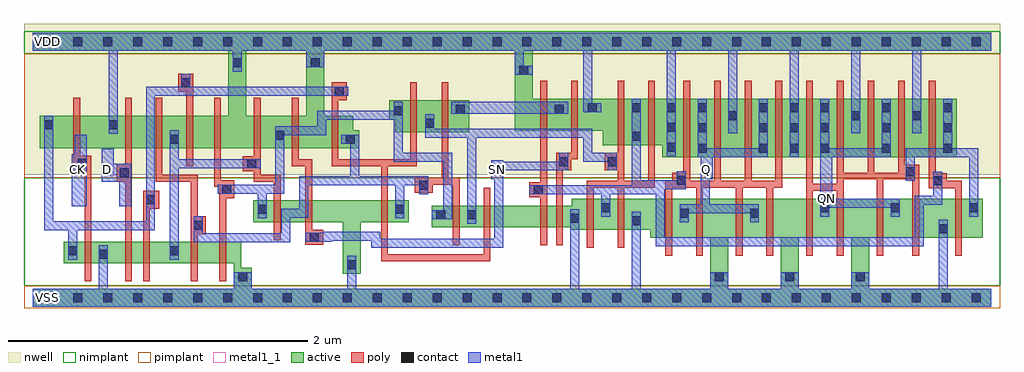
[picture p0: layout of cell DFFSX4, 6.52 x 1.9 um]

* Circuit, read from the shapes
.subckt DFFSX4 CK D Q QN SN VDD VSS
M1 VSS CK n1 VSS nfet w=0.145u l=0.045u
M2 n2 D VSS VSS nfet w=0.145u l=0.045u
M3 n3 n1 n2 VSS nfet w=0.145u l=0.045u
M4 n4 n5 n3 VSS nfet w=0.145u l=0.045u
M5 VSS n6 n4 VSS nfet w=0.145u l=0.045u
M6 n7 n3 n6 VSS nfet w=0.145u l=0.045u
M7 VSS SN n7 VSS nfet w=0.145u l=0.045u
M8 n5 n1 VSS VSS nfet w=0.145u l=0.045u
M9 n8 n5 n6 VSS nfet w=0.145u l=0.045u
M10 n9 n1 n8 VSS nfet w=0.145u l=0.045u
M11 n10 n11 n9 VSS nfet w=0.145u l=0.045u
M12 VSS SN n10 VSS nfet w=0.145u l=0.045u
M13 n11 n8 VSS VSS nfet w=0.205u l=0.045u m=2
M14 Q n11 VSS VSS nfet w=0.26u l=0.045u m=4
M15 QN n12 VSS VSS nfet w=0.26u l=0.045u m=4
M16 n12 n11 VSS VSS nfet w=0.26u l=0.045u
M17 VDD CK n1 VDD pfet w=0.215u l=0.045u
M18 n13 D VDD VDD pfet w=0.215u l=0.045u
M19 n3 n5 n13 VDD pfet w=0.215u l=0.045u
M20 n14 n1 n3 VDD pfet w=0.215u l=0.045u
M21 VDD n6 n14 VDD pfet w=0.215u l=0.045u
M22 n6 n3 VDD VDD pfet w=0.215u l=0.045u
M23 VDD SN n6 VDD pfet w=0.215u l=0.045u
M24 n5 n1 VDD VDD pfet w=0.215u l=0.045u
M25 n8 n1 n6 VDD pfet w=0.215u l=0.045u
M26 n15 n5 n8 VDD pfet w=0.215u l=0.045u
M27 n15 n11 VDD VDD pfet w=0.215u l=0.045u
M28 VDD SN n15 VDD pfet w=0.215u l=0.045u
M29 n11 n8 VDD VDD pfet w=0.31u l=0.045u m=2
M30 Q n11 VDD VDD pfet w=0.39u l=0.045u m=4
M31 QN n12 VDD VDD pfet w=0.39u l=0.045u m=4
M32 n12 n11 VDD VDD pfet w=0.39u l=0.045u
.ends

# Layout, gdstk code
import gdstk
lib = gdstk.Library(unit=1e-6, precision=5e-10)
def R(c, l, rs):  # rectangles x0, y0, x1, y1
    for r in rs: c.add(gdstk.rectangle(r[:2], r[2:], *l))
def A(c, l, x, y, w, h, nx, ny, dx, dy):  # array of equal rectangles
    R(c, l, [(x+i*dx, y+j*dy, x+i*dx+w, y+j*dy+h) for i in range(nx) for j in range(ny)])
def P(c, l, *ps):  # polygons
    for p in ps: c.add(gdstk.Polygon(p, *l))
active = (1, 0)
nwell = (2, 0)
poly = (3, 0)
nimplant = (4, 0)
pimplant = (5, 0)
contact = (6, 0)
metal1 = (7, 0)
metal1_1 = (7, 1)

dffsx4 = lib.new_cell('DFFSX4')
P(dffsx4, active, [(0,1.77),(6.4,1.77),(6.4,1.65),(3.34,1.65),(3.34,1.33),(6.17,1.33),(6.17,0.94),(4.205,0.94),(4.205,1.02),(3.805,1.02),(3.805,1.115),(3.22,1.115),(3.22,1.65),(1.945,1.65),(1.945,1.215),(2.14,1.215),(2.14,1.12),(2.18,1.12),(2.18,1),(0.045,1),(0.045,1.215),(1.305,1.215),(1.305,1.65),(1.425,1.65),(1.425,1.215),(1.825,1.215),(1.825,1.65),(0,1.65)],
  [(2.38,1.32),(2.915,1.32),(2.915,1.105),(2.42,1.105),(2.42,1.19),(2.38,1.19)],
  [(1.47,0.65),(2.51,0.65),(2.51,0.505),(2.19,0.505),(2.19,0.16),(2.07,0.16),(2.07,0.505),(1.47,0.505)],
  [(3.6,0.66),(6.345,0.66),(6.345,0.4),(5.585,0.4),(5.585,0.06),(6.4,0.06),(6.4,-0.06),(0,-0.06),(0,0.06),(1.34,0.06),(1.34,0.23),(0.205,0.23),(0.205,0.375),(1.39,0.375),(1.39,0.2),(1.46,0.2),(1.46,0.06),(4.525,0.06),(4.525,0.4),(4.645,0.4),(4.645,0.06),(4.995,0.06),(4.995,0.4),(5.115,0.4),(5.115,0.06),(5.465,0.06),(5.465,0.4),(4.125,0.4),(4.125,0.455),(3.6,0.455),(3.6,0.47),(2.665,0.47),(2.665,0.615),(3.6,0.615)])
R(dffsx4, nwell, [(-0.06,0.82,6.46,1.83)])
P(dffsx4, poly, [(0.97,1.495),(1.07,1.495),(1.07,0.88),(1.025,0.88),(1.025,1.375),(0.97,1.375)],
  [(0.27,1.335),(0.315,1.335),(0.315,0.95),(0.39,0.95),(0.39,0.11),(0.345,0.11),(0.345,0.85),(0.27,0.85)],
  [(0.615,1.335),(0.66,1.335),(0.66,0.11),(0.615,0.11),(0.615,0.775),(0.56,0.775),(0.56,0.895),(0.615,0.895)],
  [(0.82,1.335),(0.865,1.335),(0.865,0.82),(1.1,0.82),(1.1,0.545),(1.155,0.545),(1.155,0.425),(1.1,0.425),(1.1,0.11),(1.055,0.11),(1.055,0.775),(0.82,0.775)],
  [(1.21,1.335),(1.255,1.335),(1.255,0.785),(1.345,0.785),(1.345,0.665),(1.29,0.665),(1.29,0.11),(1.245,0.11),(1.245,0.74),(1.21,0.74)],
  [(1.475,1.335),(1.52,1.335),(1.52,0.82),(1.655,0.82),(1.655,0.385),(1.61,0.385),(1.61,0.775),(1.475,0.775),(1.475,0.845),(1.4,0.845),(1.4,0.945),(1.475,0.945)],
  [(1.73,1.335),(1.775,1.335),(1.775,0.925),(1.865,0.925),(1.865,0.455),(1.94,0.455),(1.94,0.355),(1.82,0.355),(1.82,0.88),(1.73,0.88)],
  [(1.995,1.44),(2.095,1.44),(2.095,1.32),(2.04,1.32),(2.04,0.925),(2.52,0.925),(2.52,1.44),(2.565,1.44),(2.565,0.88),(2.37,0.88),(2.37,0.29),(3.01,0.29),(3.01,0.735),(3.055,0.735),(3.055,0.245),(2.325,0.245),(2.325,0.88),(1.995,0.88)],
  [(2.73,1.44),(2.775,1.44),(2.775,0.8),(2.85,0.8),(2.85,0.35),(2.805,0.35),(2.805,0.755),(2.67,0.755),(2.67,0.7),(2.55,0.7),(2.55,0.8),(2.73,0.8)],
  [(3.39,1.45),(3.435,1.45),(3.435,0.35),(3.39,0.35),(3.39,0.67),(3.315,0.67),(3.315,0.77),(3.39,0.77)],
  [(3.595,1.45),(3.64,1.45),(3.64,0.925),(3.595,0.925),(3.595,0.85),(3.54,0.85),(3.54,0.35),(3.495,0.35),(3.495,0.97),(3.595,0.97)],
  [(3.905,1.45),(3.95,1.45),(3.95,0.78),(4.11,0.78),(4.11,1.45),(4.155,1.45),(4.155,0.735),(3.95,0.735),(3.95,0.335),(3.905,0.335),(3.905,0.735),(3.745,0.735),(3.745,0.335),(3.7,0.335),(3.7,0.78),(3.905,0.78),(3.905,0.85),(3.82,0.85),(3.82,0.97),(3.905,0.97)],
  [(4.345,1.45),(4.39,1.45),(4.39,0.78),(4.55,0.78),(4.55,1.45),(4.595,1.45),(4.595,0.78),(4.755,0.78),(4.755,1.45),(4.8,1.45),(4.8,0.78),(4.96,0.78),(4.96,1.45),(5.005,1.45),(5.005,0.735),(4.945,0.735),(4.945,0.28),(4.9,0.28),(4.9,0.735),(4.74,0.735),(4.74,0.28),(4.695,0.28),(4.695,0.735),(4.475,0.735),(4.475,0.28),(4.43,0.28),(4.43,0.735),(4.27,0.735),(4.27,0.28),(4.225,0.28),(4.225,0.78),(4.27,0.78),(4.27,0.835),(4.345,0.835)],
  [(5.165,1.45),(5.21,1.45),(5.21,0.76),(5.37,0.76),(5.37,1.45),(5.415,1.45),(5.415,0.835),(5.575,0.835),(5.575,1.45),(5.62,1.45),(5.62,0.835),(5.78,0.835),(5.78,1.45),(5.825,1.45),(5.825,0.89),(5.92,0.89),(5.92,0.28),(5.875,0.28),(5.875,0.79),(5.68,0.79),(5.68,0.28),(5.635,0.28),(5.635,0.79),(5.415,0.79),(5.415,0.28),(5.37,0.28),(5.37,0.715),(5.21,0.715),(5.21,0.28),(5.165,0.28)],
  [(5.985,1.45),(6.03,1.45),(6.03,0.83),(6.105,0.83),(6.105,0.78),(6.205,0.78),(6.205,0.28),(6.16,0.28),(6.16,0.73),(5.985,0.73)],
  [(0.735,0.715),(0.845,0.715),(0.845,0.595),(0.78,0.595),(0.78,0.11),(0.735,0.11)])
R(dffsx4, nimplant, [(-0.06,0.08,6.46,0.8), (-0.06,1.63,6.46,1.78)])
R(dffsx4, pimplant, [(-0.06,-0.07,6.46,0.08), (-0.06,0.8,6.46,1.63)])
A(dffsx4, contact, 0.07, -0.03, 0.06, 0.06, 32, 2, 0.2, 1.71)
A(dffsx4, contact, 4.555, 0.11, 0.06, 0.06, 3, 1, 0.47, 0)
A(dffsx4, contact, 4.44, 0.97, 0.06, 0.06, 1, 3, 0, 0.135)
A(dffsx4, contact, 4.85, 0.97, 0.06, 0.06, 3, 3, 0.205, 0.135)
A(dffsx4, contact, 5.67, 0.97, 0.06, 0.06, 1, 3, 0, 0.135)
A(dffsx4, contact, 6.08, 0.97, 0.06, 0.06, 1, 3, 0, 0.135)
R(dffsx4, contact, [(1.37,0.11,1.43,0.17), (2.1,0.19,2.16,0.25), (0.44,0.26,0.5,0.32), (0.235,0.285,0.295,0.345), (0.915,0.285,0.975,0.345), (1.85,0.375,1.91,0.435), (6.05,0.43,6.11,0.49), (1.075,0.455,1.135,0.515), (4,0.485,4.06,0.545), (3.59,0.5,3.65,0.56), (2.695,0.525,2.755,0.585), (2.9,0.525,2.96,0.585), (4.32,0.535,4.38,0.595), (4.79,0.535,4.85,0.595), (1.5,0.56,1.56,0.62), (2.42,0.56,2.48,0.62), (3.795,0.57,3.855,0.63), (5.26,0.57,5.32,0.63), (5.73,0.57,5.79,0.63), (6.255,0.57,6.315,0.63), (0.755,0.625,0.815,0.685), (3.345,0.69,3.405,0.75), (1.265,0.695,1.325,0.755), (2.58,0.72,2.64,0.78), (6.015,0.75,6.075,0.81), (4.3,0.755,4.36,0.815), (0.58,0.805,0.64,0.865), (5.83,0.81,5.89,0.87), (1.43,0.865,1.49,0.925), (0.3,0.87,0.36,0.93), (3.515,0.88,3.575,0.94), (3.84,0.88,3.9,0.94), (4.235,0.975,4.295,1.035), (0.915,1.03,0.975,1.09), (2.09,1.03,2.15,1.09), (4,1.05,4.06,1.11), (1.62,1.055,1.68,1.115), (4.235,1.11,4.295,1.17), (0.075,1.125,0.135,1.185), (0.505,1.125,0.565,1.185), (2.62,1.135,2.68,1.195), (4.645,1.185,4.705,1.245), (5.465,1.185,5.525,1.245), (5.875,1.185,5.935,1.245), (2.41,1.22,2.47,1.28), (2.825,1.23,2.885,1.29), (3.485,1.23,3.545,1.29), (3.705,1.24,3.765,1.3), (4,1.24,4.06,1.3), (4.235,1.24,4.295,1.3), (2.015,1.35,2.075,1.41), (0.99,1.405,1.05,1.465), (3.25,1.49,3.31,1.55), (1.335,1.54,1.395,1.6), (1.855,1.54,1.915,1.6)])
R(dffsx4, metal1, [(2.795,1.23,3.575,1.31)])
P(dffsx4, metal1, [(0,1.77),(6.4,1.77),(6.4,1.65),(5.935,1.65),(5.935,1.1),(5.875,1.1),(5.875,1.65),(5.525,1.65),(5.525,1.1),(5.465,1.1),(5.465,1.65),(5.115,1.65),(5.115,0.94),(5.055,0.94),(5.055,1.65),(4.705,1.65),(4.705,1.1),(4.645,1.1),(4.645,1.65),(4.295,1.65),(4.295,0.945),(4.235,0.945),(4.235,1.65),(3.735,1.65),(3.735,1.3),(3.795,1.3),(3.795,1.24),(3.675,1.24),(3.675,1.65),(3.28,1.65),(3.28,1.55),(3.34,1.55),(3.34,1.49),(3.22,1.49),(3.22,1.65),(1.945,1.65),(1.945,1.54),(1.825,1.54),(1.825,1.65),(1.395,1.65),(1.395,1.51),(1.335,1.51),(1.335,1.65),(0.565,1.65),(0.565,1.095),(0.505,1.095),(0.505,1.65),(0,1.65)],
  [(0.99,1.495),(1.05,1.495),(1.05,1.41),(2.105,1.41),(2.105,1.35),(0.815,1.35),(0.815,0.45),(0.295,0.45),(0.295,0.255),(0.235,0.255),(0.235,0.45),(0.075,0.45),(0.075,1.215),(0.135,1.215),(0.135,0.51),(0.755,0.51),(0.755,1.41),(0.99,1.41)],
  [(4,1.33),(4.06,1.33),(4.06,0.785),(4.3,0.785),(4.3,0.845),(4.36,0.845),(4.36,0.725),(4.22,0.725),(4.22,0.405),(5.89,0.405),(5.89,0.68),(6.015,0.68),(6.015,0.84),(6.075,0.84),(6.075,0.62),(5.95,0.62),(5.95,0.345),(4.16,0.345),(4.16,0.69),(3.855,0.69),(3.855,0.54),(3.795,0.54),(3.795,0.69),(3.315,0.69),(3.315,0.75),(4,0.75)],
  [(2.41,1.31),(2.47,1.31),(2.47,0.97),(2.8,0.97),(2.8,0.525),(2.665,0.525),(2.665,0.585),(2.74,0.585),(2.74,0.91),(2.41,0.91),(2.41,1.19),(1.96,1.19),(1.96,1.085),(1.68,1.085),(1.68,0.695),(1.56,0.695),(1.56,0.53),(1.5,0.53),(1.5,0.695),(1.235,0.695),(1.235,0.755),(1.62,0.755),(1.62,1.145),(1.9,1.145),(1.9,1.25),(2.41,1.25)],
  [(0.28,1.09),(0.36,1.09),(0.36,0.61),(0.26,0.61),(0.26,0.96),(0.28,0.96)],
  [(0.46,0.995),(0.54,0.995),(0.54,0.895),(0.655,0.895),(0.655,0.61),(0.575,0.61),(0.575,0.775),(0.46,0.775)],
  [(0.915,1.12),(0.975,1.12),(0.975,0.925),(1.52,0.925),(1.52,0.865),(0.975,0.865),(0.975,0.255),(0.915,0.255)],
  [(2.06,1.09),(2.18,1.09),(2.18,0.81),(2.64,0.81),(2.64,0.69),(2.58,0.69),(2.58,0.75),(2.48,0.75),(2.48,0.53),(2.42,0.53),(2.42,0.75),(1.84,0.75),(1.84,0.535),(1.72,0.535),(1.72,0.37),(1.075,0.37),(1.075,0.545),(1.135,0.545),(1.135,0.43),(1.66,0.43),(1.66,0.595),(1.78,0.595),(1.78,0.81),(2.12,0.81),(2.12,1.03),(2.06,1.03)],
  [(0.44,0.35),(0.5,0.35),(0.5,0.06),(1.34,0.06),(1.34,0.17),(1.46,0.17),(1.46,0.06),(2.1,0.06),(2.1,0.28),(2.16,0.28),(2.16,0.06),(3.59,0.06),(3.59,0.59),(3.65,0.59),(3.65,0.06),(4,0.06),(4,0.575),(4.06,0.575),(4.06,0.06),(4.525,0.06),(4.525,0.17),(4.645,0.17),(4.645,0.06),(4.995,0.06),(4.995,0.17),(5.115,0.17),(5.115,0.06),(5.465,0.06),(5.465,0.17),(5.585,0.17),(5.585,0.06),(6.05,0.06),(6.05,0.52),(6.11,0.52),(6.11,0.06),(6.4,0.06),(6.4,-0.06),(0,-0.06),(0,0.06),(0.44,0.06)],
  [(2.62,1.225),(2.68,1.225),(2.68,1.13),(3.735,1.13),(3.735,0.97),(3.9,0.97),(3.9,0.85),(3.84,0.85),(3.84,0.91),(3.675,0.91),(3.675,1.07),(2.96,1.07),(2.96,0.495),(2.9,0.495),(2.9,1.07),(2.62,1.07)],
  [(3.06,0.92),(3.14,0.92),(3.14,0.91),(3.515,0.91),(3.515,0.97),(3.575,0.97),(3.575,0.85),(3.14,0.85),(3.14,0.335),(2.26,0.335),(2.26,0.38),(2,0.38),(2,0.375),(1.82,0.375),(1.82,0.435),(1.94,0.435),(1.94,0.44),(2.32,0.44),(2.32,0.395),(3.08,0.395),(3.08,0.79),(3.06,0.79)],
  [(4.44,1.33),(4.5,1.33),(4.5,1),(4.85,1),(4.85,1.33),(4.91,1.33),(4.91,0.94),(4.54,0.94),(4.54,0.79),(4.52,0.79),(4.52,0.625),(4.85,0.625),(4.85,0.505),(4.79,0.505),(4.79,0.565),(4.38,0.565),(4.38,0.505),(4.32,0.505),(4.32,0.625),(4.46,0.625),(4.46,0.94),(4.44,0.94)],
  [(5.26,1.33),(5.32,1.33),(5.32,1),(5.67,1),(5.67,1.33),(5.73,1.33),(5.73,0.94),(5.34,0.94),(5.34,0.66),(5.79,0.66),(5.79,0.54),(5.73,0.54),(5.73,0.6),(5.32,0.6),(5.32,0.54),(5.26,0.54)],
  [(6.08,1.33),(6.14,1.33),(6.14,1),(6.315,1),(6.315,0.54),(6.255,0.54),(6.255,0.94),(5.89,0.94),(5.89,0.78),(5.83,0.78),(5.83,1),(6.08,1)])
R(dffsx4, metal1_1, [(0.06,-0.04,0.14,0.04), (5.26,0.625,5.34,0.705), (0.26,0.815,0.34,0.895), (0.46,0.815,0.54,0.895), (3.06,0.815,3.14,0.895), (4.46,0.815,4.54,0.895), (0.06,1.67,0.14,1.75)])
dffsx4.add(gdstk.Label('QN', (5.3,0.665), layer=7, texttype=1))
dffsx4.add(gdstk.Label('Q', (4.5,0.855), layer=7, texttype=1))
dffsx4.add(gdstk.Label('SN', (3.1,0.855), layer=7, texttype=1))
dffsx4.add(gdstk.Label('D', (0.5,0.855), layer=7, texttype=1))
dffsx4.add(gdstk.Label('CK', (0.3,0.855), layer=7, texttype=1))
dffsx4.add(gdstk.Label('VDD', (0.1,1.71), layer=7, texttype=1))
dffsx4.add(gdstk.Label('VSS', (0.1,0), layer=7, texttype=1))
dffsx4.add(gdstk.Label('DFFSX4', (0,0), layer=63, texttype=0))

lib.write_gds('DFFSX4.gds')
